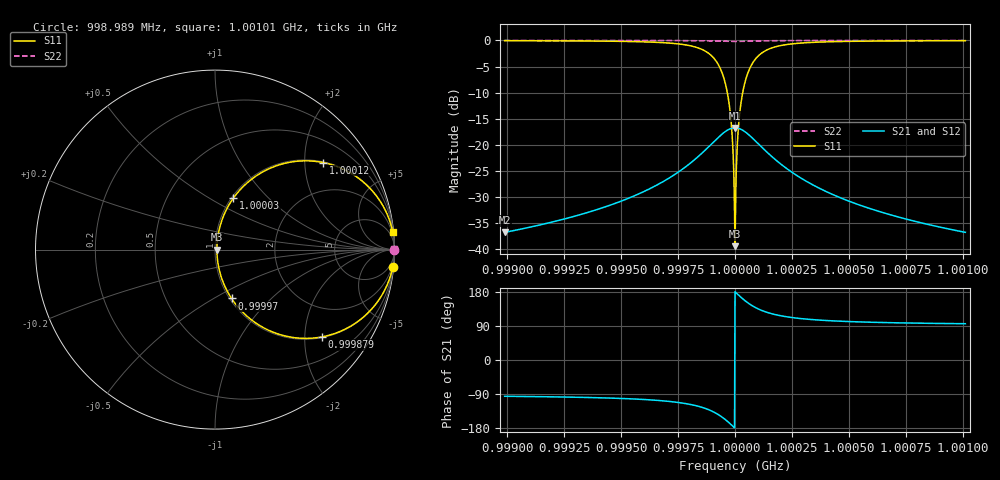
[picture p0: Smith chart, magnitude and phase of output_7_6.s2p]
! File generated for n1 = 7, n2 = 6
! b1 = 1.000000
! b2 = 0.021544
! Q0 = 10000.000000
! f0 = 1000000000.000000
! n = 1001
! rel_span = 10.000000
# Hz S RI R 50
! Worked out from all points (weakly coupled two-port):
!   1001 points, 998.989 MHz to 1.00101 GHz, reference 50 ohm
!   highest |S21| = -16.76 dB at 1 GHz (marker M1); lowest = -36.8 dB at 998.989 MHz (marker M2)
!   lowest |S11| = -39.4 dB at 1 GHz (marker M3), VSWR 1.02, Z = 51.1 + j0 ohm
!   |S11| at or under -10 dB: 999.9663 MHz to 1.000034 GHz (67.38 kHz wide, 0.00674 % of centre)
!   |S22| runs from -0.2 to 0.0 dB; largest |S21 - S12| = 0
!   S11 on the Smith chart (normalised r, x): 998.989 MHz: 1, -20; 999.879 MHz: 1.02, -2.43; 999.97 MHz: 1.02, -0.61; 1.00003 GHz: 1.02, +0.65; 1.00012 GHz: 1.02, +2.47; 1.00101 GHz: 1, +20
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9.989892e8  0.9902 -0.0979  -0.00144 -0.0144  -0.00144 -0.0144  0.9998 -0.00211
9.993268e8  0.9782 -0.1452  -0.0032 -0.0213  -0.0032 -0.0213  0.9995 -0.00313
9.996644e8  0.9177 -0.2732  -0.0121 -0.0401  -0.0121 -0.0401  0.9982 -0.00589
9.997938e8  0.8084 -0.391  -0.0281 -0.0574  -0.0281 -0.0574  0.9959 -0.00842
9.998787e8  0.5946 -0.4866  -0.0595 -0.0714  -0.0595 -0.0714  0.9913 -0.0105
9.999353e8  0.2982 -0.4492  -0.103 -0.0659  -0.103 -0.0659  0.9849 -0.00968
9.999555e8  0.1711 -0.3647  -0.1217 -0.0535  -0.1217 -0.0535  0.9821 -0.00786
9.999697e8  0.0923 -0.2723  -0.1332 -0.04  -0.1332 -0.04  0.9804 -0.00587
9.999838e8  0.0354 -0.1543  -0.1416 -0.0227  -0.1416 -0.0227  0.9792 -0.00333
9.999939e8  0.0142 -0.0591  -0.1447 -0.00868  -0.1447 -0.00868  0.9788 -0.00127
1e9  0.0107 0  -0.1452 0  -0.1452 0  0.9787 0
1.000004e9  0.0122 0.0395  -0.145 0.0058  -0.145 0.0058  0.9787 0.000851
1.000008e9  0.0169 0.0786  -0.1443 0.0115  -0.1443 0.0115  0.9788 0.00169
1.000014e9  0.0297 0.1358  -0.1424 0.0199  -0.1424 0.0199  0.9791 0.00293
1.000018e9  0.0417 0.1725  -0.1407 0.0253  -0.1407 0.0253  0.9794 0.00372
1.000032e9  0.1026 0.2872  -0.1317 0.0422  -0.1317 0.0422  0.9807 0.00619
1.000067e9  0.3108 0.4548  -0.1012 0.0668  -0.1012 0.0668  0.9852 0.0098
1.000123e9  0.6024 0.4851  -0.0584 0.0712  -0.0584 0.0712  0.9914 0.0105
1.000208e9  0.8113 0.3887  -0.0277 0.0571  -0.0277 0.0571  0.9959 0.00837
1.000338e9  0.9186 0.2719  -0.012 0.0399  -0.012 0.0399  0.9982 0.00586
1.000675e9  0.9783 0.1449  -0.00319 0.0213  -0.00319 0.0213  0.9995 0.00312
1.001011e9  0.9902 0.098  -0.00144 0.0144  -0.00144 0.0144  0.9998 0.00211
